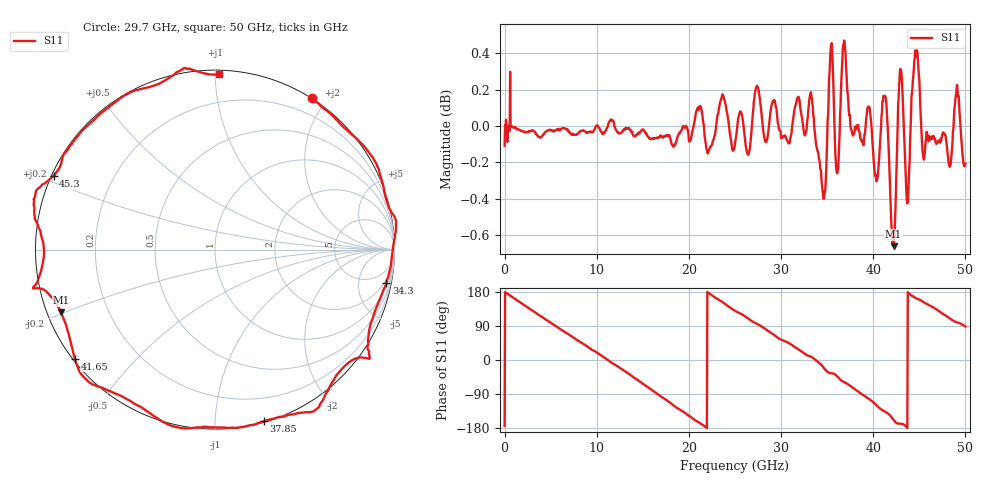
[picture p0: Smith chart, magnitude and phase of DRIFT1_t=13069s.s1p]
!Created with skrf (http://scikit-rf.org).
# Hz S RI R 50.0
!freq ReS11 ImS11
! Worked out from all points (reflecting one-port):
!   1001 points, 300 kHz to 50 GHz, reference 50 ohm
!   lowest |S11| = -0.7 dB at 42.2 GHz (marker M1), VSWR 26.35, Z = 1.97 - j9.79 ohm
!   phase of S11 starts at -174 deg and turns -817 deg over the sweep
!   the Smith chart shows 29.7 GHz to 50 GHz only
!   S11 on the Smith chart (normalised r, x): 29.7 GHz: -0.00, +1.82; 34.3 GHz: 1, -10; 37.85 GHz: 0.01, -1.32; 41.65 GHz: 0.01, -0.34; 45.3 GHz: 0.01, +0.22; 50 GHz: 0.02, +1.03
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300000  -0.9828 -0.0978
1.500291e9  -0.9058 0.4185
3.30028e9  -0.5805 0.8095
6.250262e9  0.2026 0.9777
9.500243e9  0.8926 0.442
1.250022e10  0.9317 -0.3498
1.580021e10  0.2369 -0.9631
1.74002e10  -0.2243 -0.968
1.875019e10  -0.5987 -0.7922
2.150017e10  -0.9935 -0.1497
2.350016e10  -0.9228 0.4282
2.500015e10  -0.6332 0.7597
2.740014e10  -0.0945 1.021
2.970012e10  0.5383 0.8438
3.125011e10  0.7871 0.6198
3.31001e10  1.002 0.1774
3.430009e10  0.955 -0.1848
3.525009e10  0.8577 -0.5758
3.750008e10  0.3723 -0.9316
3.785007e10  0.2705 -0.957
3.960006e10  -0.2368 -0.9838
4.165005e10  -0.7813 -0.6068
4.220005e10  -0.8582 -0.35
4.290004e10  -1.013 -0.2161
4.375004e10  -0.9542 0.0139
4.530003e10  -0.899 0.4112
4.770001e10  -0.4887 0.8663
5e10  0.0248 0.9761
